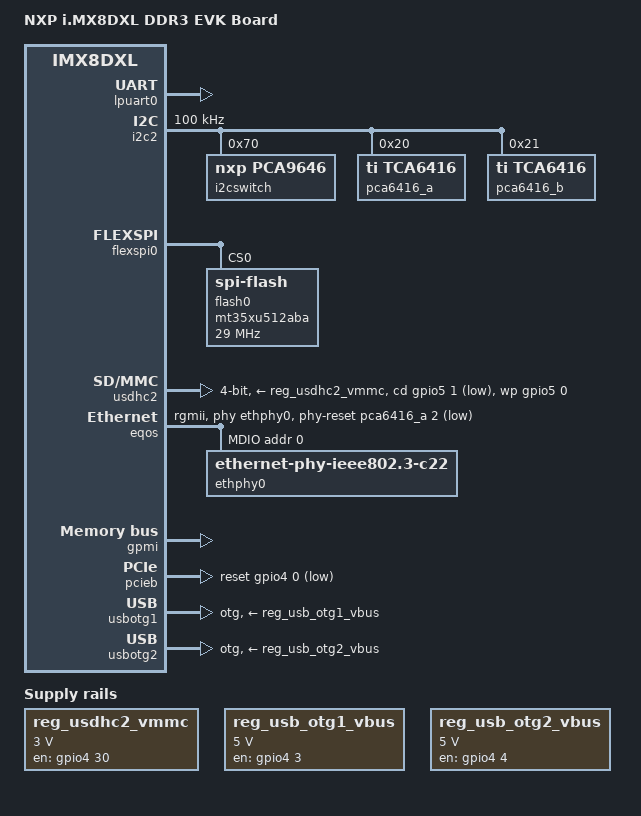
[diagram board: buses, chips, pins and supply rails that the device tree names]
// SPDX-License-Identifier: GPL-2.0+
/*
 * Copyright 2020 NXP
 */

/dts-v1/;

#include "fsl-imx8dxl.dtsi"

/ {
	model = "NXP i.MX8DXL DDR3 EVK Board";
	compatible = "fsl,imx8dxl-ddr3-evk", "fsl,imx8dxl";

	chosen {
		bootargs = "console=ttyLP0,115200 earlycon";
		stdout-path = &lpuart0;
	};

	regulators {
		compatible = "simple-bus";
		#address-cells = <1>;
		#size-cells = <0>;

		reg_usdhc2_vmmc: usdhc2_vmmc {
			compatible = "regulator-fixed";
			regulator-name = "SD1_SPWR";
			regulator-min-microvolt = <3000000>;
			regulator-max-microvolt = <3000000>;
			gpio = <&gpio4 30 GPIO_ACTIVE_HIGH>;
			enable-active-high;
			startup-delay-us = <100>;
			u-boot,off-on-delay-us = <12000>;
		};

		reg_usb_otg1_vbus: regulator@0 {
			compatible = "regulator-fixed";
			reg = <0>;
			regulator-name = "usb_otg1_vbus";
			regulator-min-microvolt = <5000000>;
			regulator-max-microvolt = <5000000>;
			gpio = <&gpio4 3 GPIO_ACTIVE_HIGH>;
			enable-active-high;
		};

		reg_usb_otg2_vbus: regulator@1 {
			compatible = "regulator-fixed";
			reg = <1>;
			regulator-name = "usb_otg2_vbus";
			regulator-min-microvolt = <5000000>;
			regulator-max-microvolt = <5000000>;
			gpio = <&gpio4 4 GPIO_ACTIVE_HIGH>;
			enable-active-high;
		};
	};
};

&iomuxc {
	pinctrl-names = "default";
	pinctrl-0 = <&pinctrl_hog>;

	imx8dxl-evk {
		pinctrl_hog: hoggrp {
			fsl,pins = <
				SC_P_COMP_CTL_GPIO_1V8_3V3_GPIORHB_PAD	0x000514a0
				SC_P_USB_SS3_TC0_LSIO_GPIO4_IO03 0x00000021
				SC_P_USB_SS3_TC1_LSIO_GPIO4_IO04 0x00000021
			>;
		};

		pinctrl_eqos: eqosgrp {
			fsl,pins = <
				SC_P_COMP_CTL_GPIO_1V8_3V3_GPIORHB_PAD		0x000514a0
				SC_P_ENET0_MDC_CONN_EQOS_MDC				0x06000020
				SC_P_ENET0_MDIO_CONN_EQOS_MDIO			0x06000020
				SC_P_ENET1_RGMII_TX_CTL_CONN_EQOS_RGMII_TX_CTL		0x00000060
				SC_P_ENET1_RGMII_TXC_CONN_EQOS_RGMII_TXC		0x00000060
				SC_P_ENET1_RGMII_TXD0_CONN_EQOS_RGMII_TXD0	0x00000060
				SC_P_ENET1_RGMII_TXD1_CONN_EQOS_RGMII_TXD1	0x00000060
				SC_P_ENET1_RGMII_TXD2_CONN_EQOS_RGMII_TXD2	0x00000060
				SC_P_ENET1_RGMII_TXD3_CONN_EQOS_RGMII_TXD3	0x00000060
				SC_P_ENET1_RGMII_RXC_CONN_EQOS_RGMII_RXC		0x00000060
				SC_P_ENET1_RGMII_RX_CTL_CONN_EQOS_RGMII_RX_CTL	0x00000060
				SC_P_ENET1_RGMII_RXD0_CONN_EQOS_RGMII_RXD0	0x00000060
				SC_P_ENET1_RGMII_RXD1_CONN_EQOS_RGMII_RXD1	0x00000060
				SC_P_ENET1_RGMII_RXD2_CONN_EQOS_RGMII_RXD2	0x00000060
				SC_P_ENET1_RGMII_RXD3_CONN_EQOS_RGMII_RXD3	0x00000060
			>;
		};

		pinctrl_gpmi_nand_1: gpmi-nand-1 {
			fsl,pins = <
				SC_P_EMMC0_DATA0_CONN_NAND_DATA00	0x0e00004c
				SC_P_EMMC0_DATA1_CONN_NAND_DATA01	0x0e00004c
				SC_P_EMMC0_DATA2_CONN_NAND_DATA02	0x0e00004c
				SC_P_EMMC0_DATA3_CONN_NAND_DATA03	0x0e00004c
				SC_P_EMMC0_DATA4_CONN_NAND_DATA04	0x0e00004c
				SC_P_EMMC0_DATA5_CONN_NAND_DATA05	0x0e00004c
				SC_P_EMMC0_DATA6_CONN_NAND_DATA06	0x0e00004c
				SC_P_EMMC0_DATA7_CONN_NAND_DATA07	0x0e00004c
				SC_P_EMMC0_CLK_CONN_NAND_READY_B	0x0e00004c
				SC_P_EMMC0_STROBE_CONN_NAND_CLE		0x0e00004c
				SC_P_EMMC0_RESET_B_CONN_NAND_WP_B	0x0e00004c
				SC_P_EMMC0_CMD_CONN_NAND_DQS		0x0e00004c

				SC_P_USDHC1_RESET_B_CONN_NAND_WE_B	0x0e00004c
				SC_P_USDHC1_WP_CONN_NAND_ALE		0x0e00004c
				SC_P_USDHC1_VSELECT_CONN_NAND_RE_B  	0x0e00004c
			>;
		};

		pinctrl_lpuart0: lpuart0grp {
			fsl,pins = <
				SC_P_UART0_RX_ADMA_UART0_RX	0x06000020
				SC_P_UART0_TX_ADMA_UART0_TX	0x06000020
			>;
		};

		pinctrl_lpi2c2: lpi2c2grp {
			fsl,pins = <
				SC_P_SPI1_SDO_ADMA_I2C2_SCL	0x06000021
				SC_P_SPI1_SCK_ADMA_I2C2_SDA	0x06000021
			>;
		};

		pinctrl_lpi2c3: lpi2c3grp {
			fsl,pins = <
				SC_P_SPI1_SDI_ADMA_I2C3_SCL	0x06000021
				SC_P_SPI1_CS0_ADMA_I2C3_SDA	0x06000021
			>;
		};

		pinctrl_usdhc2_gpio: usdhc2gpiogrp {
			fsl,pins = <
				SC_P_ENET0_RGMII_TX_CTL_LSIO_GPIO4_IO30	0x00000021 /* RESET_B */
				SC_P_ENET0_RGMII_TXD1_LSIO_GPIO5_IO00		0x00000021 /* WP */
				SC_P_ENET0_RGMII_TXD2_LSIO_GPIO5_IO01	0x00000021 /* CD */
			>;
		};

		pinctrl_usdhc2: usdhc2grp {
			fsl,pins = <
				SC_P_ENET0_RGMII_RXC_CONN_USDHC1_CLK		0x06000041
				SC_P_ENET0_RGMII_RX_CTL_CONN_USDHC1_CMD		0x00000021
				SC_P_ENET0_RGMII_RXD0_CONN_USDHC1_DATA0	0x00000021
				SC_P_ENET0_RGMII_RXD1_CONN_USDHC1_DATA1	0x00000021
				SC_P_ENET0_RGMII_RXD2_CONN_USDHC1_DATA2	0x00000021
				SC_P_ENET0_RGMII_RXD3_CONN_USDHC1_DATA3	0x00000021
				SC_P_ENET0_RGMII_TXD0_CONN_USDHC1_VSELECT	0x00000021
			>;
		};

		pinctrl_usdhc2_100mhz: usdhc2grp100mhz {
			fsl,pins = <
				SC_P_ENET0_RGMII_RXC_CONN_USDHC1_CLK		0x06000041
				SC_P_ENET0_RGMII_RX_CTL_CONN_USDHC1_CMD		0x00000021
				SC_P_ENET0_RGMII_RXD0_CONN_USDHC1_DATA0	0x00000021
				SC_P_ENET0_RGMII_RXD1_CONN_USDHC1_DATA1	0x00000021
				SC_P_ENET0_RGMII_RXD2_CONN_USDHC1_DATA2	0x00000021
				SC_P_ENET0_RGMII_RXD3_CONN_USDHC1_DATA3	0x00000021
				SC_P_ENET0_RGMII_TXD0_CONN_USDHC1_VSELECT	0x00000021
			>;
		};

		pinctrl_usdhc2_200mhz: usdhc2grp200mhz {
			fsl,pins = <
				SC_P_ENET0_RGMII_RXC_CONN_USDHC1_CLK		0x06000041
				SC_P_ENET0_RGMII_RX_CTL_CONN_USDHC1_CMD		0x00000021
				SC_P_ENET0_RGMII_RXD0_CONN_USDHC1_DATA0	0x00000021
				SC_P_ENET0_RGMII_RXD1_CONN_USDHC1_DATA1	0x00000021
				SC_P_ENET0_RGMII_RXD2_CONN_USDHC1_DATA2	0x00000021
				SC_P_ENET0_RGMII_RXD3_CONN_USDHC1_DATA3	0x00000021
				SC_P_ENET0_RGMII_TXD0_CONN_USDHC1_VSELECT	0x00000021
			>;
		};

		pinctrl_flexspi0: flexspi0grp {
			fsl,pins = <
				SC_P_QSPI0A_DATA0_LSIO_QSPI0A_DATA0	0x06000021
				SC_P_QSPI0A_DATA1_LSIO_QSPI0A_DATA1	0x06000021
				SC_P_QSPI0A_DATA2_LSIO_QSPI0A_DATA2	0x06000021
				SC_P_QSPI0A_DATA3_LSIO_QSPI0A_DATA3	0x06000021
				SC_P_QSPI0A_DQS_LSIO_QSPI0A_DQS		0x06000021
				SC_P_QSPI0A_SS0_B_LSIO_QSPI0A_SS0_B	0x06000021
				SC_P_QSPI0A_SCLK_LSIO_QSPI0A_SCLK	0x06000021
				SC_P_QSPI0B_DATA0_LSIO_QSPI0B_DATA0	0x06000021
				SC_P_QSPI0B_DATA1_LSIO_QSPI0B_DATA1	0x06000021
				SC_P_QSPI0B_DATA2_LSIO_QSPI0B_DATA2	0x06000021
				SC_P_QSPI0B_DATA3_LSIO_QSPI0B_DATA3	0x06000021
			>;
		};

		pinctrl_pcieb: pcieagrp{
			fsl,pins = <
				SC_P_PCIE_CTRL0_PERST_B_LSIO_GPIO4_IO00		0x06000021
				SC_P_PCIE_CTRL0_CLKREQ_B_LSIO_GPIO4_IO01	0x06000021
				SC_P_PCIE_CTRL0_WAKE_B_LSIO_GPIO4_IO02		0x04000021
			>;
		};
	};
};

&A35_0 {
	u-boot,dm-pre-reloc;
};

&lpuart0 {
	pinctrl-names = "default";
	pinctrl-0 = <&pinctrl_lpuart0>;
	status = "okay";
};

&gpio4 {
	status = "okay";
};

&gpio5 {
	status = "okay";
};

&i2c2 {
	clock-frequency = <100000>;
	pinctrl-names = "default";
	pinctrl-0 = <&pinctrl_lpi2c2>;
	status = "okay";

	i2cswitch@70 {
		compatible = "nxp,pca9646";
		reg = <0x70>;
		u-boot,i2c-offset-len = <0>;
		#address-cells = <1>;
		#size-cells = <0>;

		v2x_i2c2: i2c@0 {
			#address-cells = <1>;
			#size-cells = <0>;
			reg = <0x0>;
		};

		audio_codec1_i2c2: i2c@1 {
			#address-cells = <1>;
			#size-cells = <0>;
			reg = <0x1>;
		};

		audio_codec2_i2c2: i2c@2 {
			#address-cells = <1>;
			#size-cells = <0>;
			reg = <0x2>;
		};

		audio_codec3_i2c2: i2c@3 {
			#address-cells = <1>;
			#size-cells = <0>;
			reg = <0x3>;
		};

		audio_codec0_i2c2: i2c@4 {
			#address-cells = <1>;
			#size-cells = <0>;
			reg = <0x4>;
		};
	};

	pca6416_a: gpio@20 {
		compatible = "ti,tca6416";
		reg = <0x20>;
		gpio-controller;
		#gpio-cells = <2>;
	};

	pca6416_b: gpio@21 {
		compatible = "ti,tca6416";
		reg = <0x21>;
		gpio-controller;
		#gpio-cells = <2>;
	};
};

&i2c3 {
	clock-frequency = <100000>;
	pinctrl-names = "default";
	pinctrl-0 = <&pinctrl_lpi2c3>;
	status = "disabled";

	i2cswitch@70 {
		compatible = "nxp,pca9646";
		reg = <0x70>;
		u-boot,i2c-offset-len = <0>;
		#address-cells = <1>;
		#size-cells = <0>;

		alt_audio_codec1_i2c3: i2c@0 {
			#address-cells = <1>;
			#size-cells = <0>;
			reg = <0x0>;
		};

		alt_audio_codec2_i2c3: i2c@1 {
			#address-cells = <1>;
			#size-cells = <0>;
			reg = <0x1>;
		};

		alt_audio_codec3_i2c3: i2c@2 {
			#address-cells = <1>;
			#size-cells = <0>;
			reg = <0x2>;
		};

		usb1_i2c3: i2c@3 {
			#address-cells = <1>;
			#size-cells = <0>;
			reg = <0x3>;
		};

		usb2_i2c3: i2c@4 {
			#address-cells = <1>;
			#size-cells = <0>;
			reg = <0x4>;
		};
	};

	pca6416_c: gpio@20 {
		compatible = "ti,tca6416";
		reg = <0x20>;
		gpio-controller;
		#gpio-cells = <2>;
	};
};

&flexspi0 {
	pinctrl-names = "default";
	pinctrl-0 = <&pinctrl_flexspi0>;
	status = "okay";

	flash0: mt35xu512aba@0 {
		reg = <0>;
		#address-cells = <1>;
		#size-cells = <1>;
		compatible = "spi-flash";
		spi-max-frequency = <29000000>;
		spi-nor,ddr-quad-read-dummy = <8>;
	};
};

&usdhc2 {
	pinctrl-names = "default", "state_100mhz", "state_200mhz";
	pinctrl-0 = <&pinctrl_usdhc2>, <&pinctrl_usdhc2_gpio>;
	pinctrl-1 = <&pinctrl_usdhc2_100mhz>, <&pinctrl_usdhc2_gpio>;
	pinctrl-2 = <&pinctrl_usdhc2_200mhz>, <&pinctrl_usdhc2_gpio>;
	bus-width = <4>;
	cd-gpios = <&gpio5 1 GPIO_ACTIVE_LOW>;
	wp-gpios = <&gpio5 0 GPIO_ACTIVE_HIGH>;
	vmmc-supply = <&reg_usdhc2_vmmc>;
	max-frequency = <100000000>;
	status = "okay";
};

&eqos {
	pinctrl-names = "default";
	pinctrl-0 = <&pinctrl_eqos>;
	phy-mode = "rgmii";
	phy-handle = <&ethphy0>;
	fsl,ar8031-phy-fixup;
	fsl,magic-packet;
	status = "okay";

	phy-reset-gpios = <&pca6416_a 2 GPIO_ACTIVE_LOW>;
	phy-reset-duration = <10>;
	phy-reset-post-delay = <150>;

	mdio {
		#address-cells = <1>;
		#size-cells = <0>;

		ethphy0: ethernet-phy@0 {
			compatible = "ethernet-phy-ieee802.3-c22";
			reg = <0>;
		};

	};
};

&gpmi {
	pinctrl-names = "default";
	pinctrl-0 = <&pinctrl_gpmi_nand_1>;
	status = "okay";
	nand-on-flash-bbt;
};

&pcieb{
	ext_osc = <0>;
	pinctrl-names = "default";
	pinctrl-0 = <&pinctrl_pcieb>;
	clkreq-gpio = <&gpio4 1 GPIO_ACTIVE_LOW>;
	reset-gpio = <&gpio4 0 GPIO_ACTIVE_LOW>;
	status = "okay";
};

&usbotg1 {
	vbus-supply = <&reg_usb_otg1_vbus>;
	dr_mode = "otg";
	srp-disable;
	hnp-disable;
	adp-disable;
	power-polarity-active-high;
	disable-over-current;
	status = "okay";
};

&usbotg2 {
	vbus-supply = <&reg_usb_otg2_vbus>;
	dr_mode = "otg";
	srp-disable;
	hnp-disable;
	adp-disable;
	power-polarity-active-high;
	disable-over-current;
	status = "okay";
};
